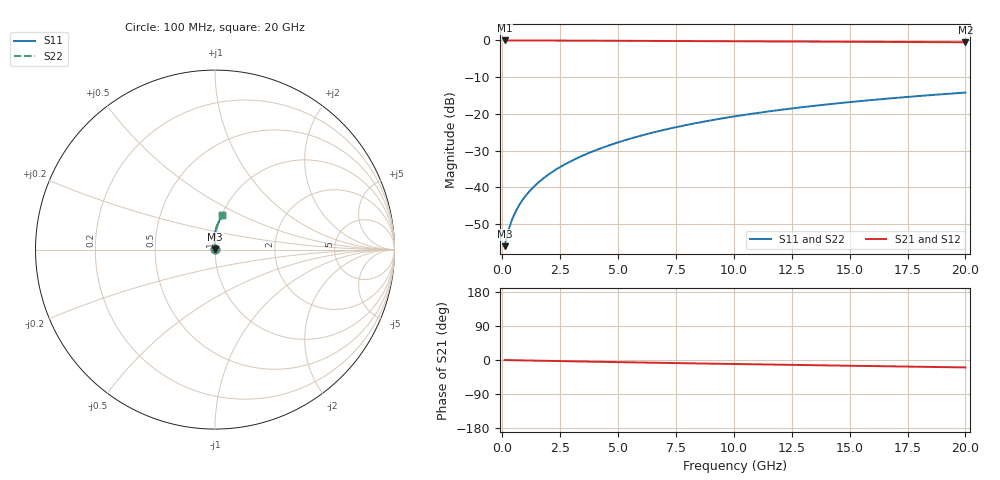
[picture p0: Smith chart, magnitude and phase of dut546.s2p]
! Touchstone file exported from HFSS 2024.1.0
!  File:  C:/UserFiles/LocalFiles/RDL_TSV_Batchsim/temp_RDL_top_546_1779680729.aedt
!  Generated:  11:47:55 AM May 25, 2026
!  Design:  RDL_top
!  Project:  temp_RDL_top_546_1779680729
!  Setup:  Setup1
!  Solution:  Sweep
! Variables:
!  dtsv = 10.80580581um
!  hbump = 3um
!  htsv = 60.38um
!  ldown = 100um
!  lrdl = 253.29um
!  p = 40
!  p1 = 54.75um
!  rhole = 1um
!  t = 450um
!  tdown = 3.915915916um
!  trdl = 2.99um
!  wdown = 15.38538539um
!  wrdl = 28.97um
# GHz S MA R 50.000000
! Terminal data exported
! Port[1] = Box2_T1
! Port[2] = Box2_T2
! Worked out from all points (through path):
!   200 points, 100 MHz to 20 GHz, reference 50 ohm
!   highest |S21| = -0.01 dB at 100 MHz (marker M1); lowest = -0.5 dB at 20 GHz (marker M2)
!   group delay of S21, straight-line fit = 2.68 ps
!   lowest |S11| = -56.0 dB at 100 MHz (marker M3), VSWR 1.00, Z = 50.1 + j0.0842 ohm
!   |S11| at or under -10 dB: start of sweep to end of sweep
!   |S22| runs from -56.0 to -14.2 dB; largest |S21 - S12| = 2.1e-15
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0.1  0.001581 32.1  0.9987 -0.1  0.9987 -0.1  0.001581 32.1
! Gamma 0 0 0 0
! Port Impedance 50 0 50 0
0.2  0.00216 49.5  0.9986 -0.2  0.9986 -0.2  0.00216 49.5
0.3  0.002817 58.6  0.9985 -0.4  0.9985 -0.4  0.002817 58.6
0.4  0.003485 64.2  0.9984 -0.5  0.9984 -0.5  0.003485 64.2
0.5  0.004155 68.2  0.9983 -0.6  0.9983 -0.6  0.004155 68.2
0.6  0.004829 71.3  0.9982 -0.7  0.9982 -0.7  0.004829 71.3
0.8  0.006197 75.7  0.998 -1.0  0.998 -1.0  0.006198 75.7
1.1  0.008304 80.2  0.9976 -1.3  0.9976 -1.3  0.008304 80.2
1.3  0.009743 82.3  0.9974 -1.5  0.9974 -1.5  0.009743 82.3
1.6  0.01195 84.7  0.997 -1.9  0.997 -1.9  0.01195 84.7
2.1  0.01575 87.5  0.9961 -2.5  0.9961 -2.5  0.01575 87.5
2.7  0.02052 89.7  0.9948 -3.2  0.9948 -3.2  0.02052 89.7
3.5  0.02725 91.5  0.9927 -4.0  0.9927 -4.0  0.02725 91.5
4.2  0.03346 92.4  0.9907 -4.8  0.9907 -4.8  0.03346 92.4
5  0.04091 92.9  0.9882 -5.7  0.9882 -5.7  0.04091 92.9
5.9  0.04965 92.9  0.9853 -6.6  0.9853 -6.6  0.04965 92.9
6.8  0.05868 92.6  0.9824 -7.5  0.9824 -7.5  0.05868 92.6
8.4  0.07523 91.3  0.9772 -9.1  0.9772 -9.1  0.07523 91.3
10.1  0.09315 89.5  0.972 -10.7  0.972 -10.7  0.09315 89.5
13.4  0.1279 85.6  0.9624 -13.7  0.9624 -13.7  0.1279 85.6
16.7  0.162 81.7  0.9533 -16.7  0.9533 -16.7  0.162 81.7
20  0.1949 77.9  0.9442 -19.6  0.9442 -19.6  0.1949 77.9
